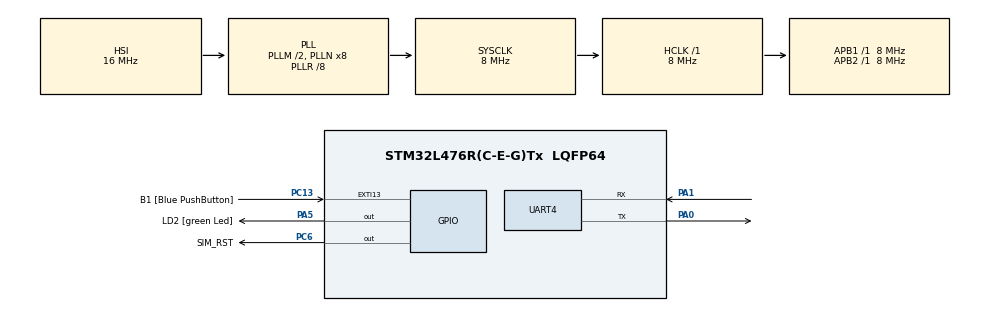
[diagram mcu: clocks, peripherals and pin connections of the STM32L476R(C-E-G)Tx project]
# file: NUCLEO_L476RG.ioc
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Dma.Request0=UART4_TX
Dma.Request1=UART4_RX
Dma.UART4_RX.1.Direction=DMA_PERIPH_TO_MEMORY
Dma.UART4_RX.1.Instance=DMA2_Channel5
Dma.UART4_RX.1.MemDataAlignment=DMA_MDATAALIGN_BYTE
Dma.UART4_RX.1.MemInc=DMA_MINC_ENABLE
Dma.UART4_RX.1.Mode=DMA_NORMAL
Dma.UART4_RX.1.PeriphDataAlignment=DMA_PDATAALIGN_BYTE
Dma.UART4_RX.1.PeriphInc=DMA_PINC_DISABLE
Dma.UART4_RX.1.Priority=DMA_PRIORITY_LOW
Dma.UART4_TX.0.Direction=DMA_MEMORY_TO_PERIPH
Dma.UART4_TX.0.Instance=DMA2_Channel3
Dma.UART4_TX.0.MemDataAlignment=DMA_MDATAALIGN_BYTE
Dma.UART4_TX.0.MemInc=DMA_MINC_ENABLE
Dma.UART4_TX.0.Mode=DMA_NORMAL
Dma.UART4_TX.0.PeriphDataAlignment=DMA_PDATAALIGN_BYTE
Dma.UART4_TX.0.PeriphInc=DMA_PINC_DISABLE
Dma.UART4_TX.0.Priority=DMA_PRIORITY_LOW
Mcu.Family=STM32L4
Mcu.Name=STM32L476R(C-E-G)Tx
Mcu.Package=LQFP64
NVIC.DMA2_Channel3_IRQn=true\:0\:0\:false\:false\:true\:false\:true
NVIC.DMA2_Channel5_IRQn=true\:0\:0\:false\:false\:true\:false\:true
NVIC.PriorityGroup=NVIC_PRIORITYGROUP_4
NVIC.TIM6_DAC_IRQn=true\:0\:0\:false\:false\:true\:true\:true
NVIC.UART4_IRQn=true\:0\:0\:false\:false\:true\:true\:true
PA0.Mode=Asynchronous
PA0.Signal=UART4_TX
PA1.Mode=Asynchronous
PA1.Signal=UART4_RX
PA13\ (JTMS-SWDIO).GPIO_Label=TMS
PA13\ (JTMS-SWDIO).Mode=Serial_Wire
PA13\ (JTMS-SWDIO).Signal=SYS_JTMS-SWDIO
PA14\ (JTCK-SWCLK).GPIO_Label=TCK
PA14\ (JTCK-SWCLK).Mode=Serial_Wire
PA14\ (JTCK-SWCLK).Signal=SYS_JTCK-SWCLK
PA5.GPIO_Label=LD2 [green Led]
PA5.GPIO_ModeDefaultOutputPP=GPIO_MODE_OUTPUT_PP
PA5.GPIO_PuPd=GPIO_NOPULL
PA5.GPIO_Speed=GPIO_SPEED_FREQ_LOW
PA5.Signal=GPIO_Output
PB3\ (JTDO-TRACESWO).GPIO_Label=SWO
PB3\ (JTDO-TRACESWO).Signal=SYS_JTDO-SWO
PC13.GPIO_Label=B1 [Blue PushButton]
PC13.GPIO_ModeDefaultEXTI=GPIO_MODE_IT_FALLING
PC13.GPIO_PuPd=GPIO_NOPULL
PC13.Signal=GPXTI13
PC14-OSC32_IN\ (PC14).Mode=LSE-External-Oscillator
PC14-OSC32_IN\ (PC14).Signal=RCC_OSC32_IN
PC15-OSC32_OUT\ (PC15).Mode=LSE-External-Oscillator
PC15-OSC32_OUT\ (PC15).Signal=RCC_OSC32_OUT
PC6.GPIO_Label=SIM_RST
PC6.Signal=GPIO_Output
PH0-OSC_IN\ (PH0).Signal=RCC_OSC_IN
PH1-OSC_OUT\ (PH1).Signal=RCC_OSC_OUT
ProjectManager.HeapSize=0x200
ProjectManager.StackSize=0x400
ProjectManager.TargetToolchain=STM32CubeIDE
RCC.ADCFreq_Value=32000000
RCC.AHBFreq_Value=8000000
RCC.APB1Freq_Value=8000000
RCC.APB1TimFreq_Value=8000000
RCC.APB2Freq_Value=8000000
RCC.APB2TimFreq_Value=8000000
RCC.CortexFreq_Value=8000000
RCC.HCLKFreq_Value=8000000
RCC.HSE_VALUE=8000000
RCC.HSI_VALUE=16000000
RCC.MSI_VALUE=4000000
RCC.PLLM=2
RCC.PLLR=RCC_PLLR_DIV8
RCC.PLLSourceVirtual=RCC_PLLSOURCE_HSI
RCC.PREFETCH_ENABLE=1
RCC.SYSCLKFreq_VALUE=8000000
RCC.SYSCLKSource=RCC_SYSCLKSOURCE_PLLCLK
RCC.UART4CLockSelection=RCC_UART4CLKSOURCE_SYSCLK
RCC.USBFreq_Value=32000000
RCC.VCOOutputFreq_Value=64000000
TIM6.Period=100-1
TIM6.Prescaler=800-1
VP_TIM6_VS_ClockSourceINT.Mode=Enable_Timer
board=NUCLEO-L476RG

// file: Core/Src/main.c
/* USER CODE BEGIN Header */
/**
  ******************************************************************************
  * @file           : main.c
  * @brief          : Main program body
  ******************************************************************************
  * @attention
  *
  * <h2><center>&copy; Copyright (c) 2020 STMicroelectronics.
  * All rights reserved.</center></h2>
  *
  * This software component is licensed by ST under BSD 3-Clause license,
  * the "License"; You may not use this file except in compliance with the
  * License. You may obtain a copy of the License at:
  *                        opensource.org/licenses/BSD-3-Clause
  *
  ******************************************************************************
  */
/* USER CODE END Header */

#include "main.h"
#include "dma.h"
#include "tim.h"
#include "usart.h"
#include "gpio.h"

/* USER CODE BEGIN Includes */
#include "stdio.h"

#include "fsm_power_on.h"
#include "fsm_sim800_init.h"
#include "fsm_wait_network_registration.h"
#include "FSM_Messages.h"
#include "FSM_Timers.h"
/* USER CODE END Includes */

void SystemClock_Config(void);

int main(void)
{

  /* MCU Configuration--------------------------------------------------------*/

  /* Reset of all peripherals, Initializes the Flash interface and the Systick. */
  HAL_Init();

  /* Configure the system clock */
  SystemClock_Config();

  /* Initialize all configured peripherals */
  MX_GPIO_Init();
  MX_DMA_Init();
  MX_TIM6_Init();
  MX_UART4_Init();
  /* USER CODE BEGIN 2 */

  printf ("Programm start\r\n");

  InitFSM_Messages ();
  InitFSM_timers ();
  SendFSM_Messages (SIM800_RESET_BEGIN);

  FSM_SIM800_Power_on_init();
  FSM_wait_net_reg_init();
  /* USER CODE END 2 */

  /* Infinite loop */
  while (1)
  {

    /* USER CODE BEGIN 3 */

	  /*HAL_UART_Transmit(&huart2,"Hello, world!\r\n", strlen("Hello, world!\r\n"), 100);
	  HAL_Delay(250);*/
	  FSM_SIM800_Power_on();
	  FSM_SIM800_Initialize();
	  FSM_wait_net_reg();

	  ProcessFSM_Messages ();
  }
  /* USER CODE END 3 */
}

void SystemClock_Config(void)
{
  RCC_OscInitTypeDef RCC_OscInitStruct = {0};
  RCC_ClkInitTypeDef RCC_ClkInitStruct = {0};
  RCC_PeriphCLKInitTypeDef PeriphClkInit = {0};

  /** Initializes the CPU, AHB and APB busses clocks
  */
  RCC_OscInitStruct.OscillatorType = RCC_OSCILLATORTYPE_HSI;
  RCC_OscInitStruct.HSIState = RCC_HSI_ON;
  RCC_OscInitStruct.HSICalibrationValue = RCC_HSICALIBRATION_DEFAULT;
  RCC_OscInitStruct.PLL.PLLState = RCC_PLL_ON;
  RCC_OscInitStruct.PLL.PLLSource = RCC_PLLSOURCE_HSI;
  RCC_OscInitStruct.PLL.PLLM = 2;
  RCC_OscInitStruct.PLL.PLLN = 8;
  RCC_OscInitStruct.PLL.PLLP = RCC_PLLP_DIV7;
  RCC_OscInitStruct.PLL.PLLQ = RCC_PLLQ_DIV2;
  RCC_OscInitStruct.PLL.PLLR = RCC_PLLR_DIV8;
  if (HAL_RCC_OscConfig(&RCC_OscInitStruct) != HAL_OK)
  {
    Error_Handler();
  }
  /** Initializes the CPU, AHB and APB busses clocks
  */
  RCC_ClkInitStruct.ClockType = RCC_CLOCKTYPE_HCLK|RCC_CLOCKTYPE_SYSCLK
                              |RCC_CLOCKTYPE_PCLK1|RCC_CLOCKTYPE_PCLK2;
  RCC_ClkInitStruct.SYSCLKSource = RCC_SYSCLKSOURCE_PLLCLK;
  RCC_ClkInitStruct.AHBCLKDivider = RCC_SYSCLK_DIV1;
  RCC_ClkInitStruct.APB1CLKDivider = RCC_HCLK_DIV1;
  RCC_ClkInitStruct.APB2CLKDivider = RCC_HCLK_DIV1;

  if (HAL_RCC_ClockConfig(&RCC_ClkInitStruct, FLASH_LATENCY_0) != HAL_OK)
  {
    Error_Handler();
  }
  PeriphClkInit.PeriphClockSelection = RCC_PERIPHCLK_UART4;
  PeriphClkInit.Uart4ClockSelection = RCC_UART4CLKSOURCE_SYSCLK;
  if (HAL_RCCEx_PeriphCLKConfig(&PeriphClkInit) != HAL_OK)
  {
    Error_Handler();
  }
  /** Configure the main internal regulator output voltage
  */
  if (HAL_PWREx_ControlVoltageScaling(PWR_REGULATOR_VOLTAGE_SCALE1) != HAL_OK)
  {
    Error_Handler();
  }
}

void Error_Handler(void)
{
}

/************************ (C) COPYRIGHT STMicroelectronics *****END OF FILE****/
